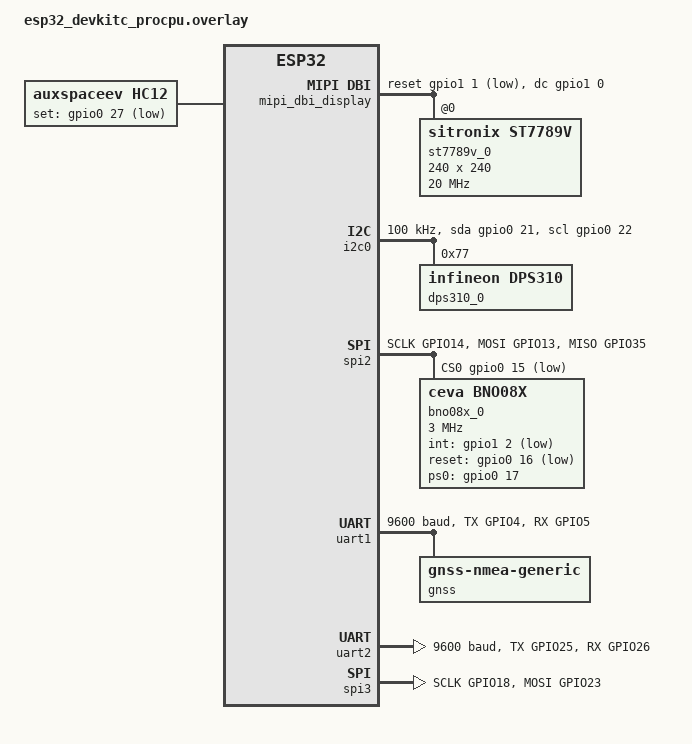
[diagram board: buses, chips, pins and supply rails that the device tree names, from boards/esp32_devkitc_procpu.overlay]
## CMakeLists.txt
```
#-------------------------------------------------------------------------------
# Ground Support Application
#
# Copyright (c) 2026 Auxspace e.V.
# SPDX-License-Identifier: Apache-2.0

cmake_minimum_required(VERSION 3.20.0)

# TODO: Exclude zephyr from SCA since it produces false positives
# set(ZEPHYR_SCA_VARIANT gcc)

# Make application-local snippets (e.g. ./snippets/sim) discoverable by
# `west build -S <name>` and twister's SNIPPET= extra_args.
list(APPEND SNIPPET_ROOT ${CMAKE_CURRENT_SOURCE_DIR})

find_package(Zephyr REQUIRED HINTS $ENV{ZEPHYR_BASE})

# The "app" library target below is created by find_package(Zephyr) (see
# zephyr/cmake/modules/kernel.cmake), independently of the project name.
project(ground_support LANGUAGES C CXX)

target_sources(app PRIVATE
	src/main.c
	src/ground_state.c
	src/hc12_rx.c
	)

target_sources_ifdef(CONFIG_GNSS app PRIVATE src/gnss_rx.c)
target_sources_ifdef(CONFIG_LVGL app PRIVATE src/display.c)
```

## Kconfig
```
# Copyright (c) 2026 Auxspace e.V.
# SPDX-License-Identifier: Apache-2.0
#
# This file is the application Kconfig entry point. All application Kconfig
# options can be defined here or included via other application Kconfig files.
# You can browse these options using the west targets menuconfig (terminal) or
# guiconfig (GUI).

menu "Zephyr"

source "Kconfig.zephyr"

endmenu

module = GROUND_SUPPORT
module-str = GROUND_SUPPORT
source "subsys/logging/Kconfig.template.log_config"
```

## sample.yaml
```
# Copyright (c) 2026 Auxspace e.V.
# SPDX-License-Identifier: Apache-2.0
#
# This file is provided so that the application can be compiled using Twister,
# the Zephyr testing tool. In this file, multiple combinations can be specified,
# so that you can easily test all of them locally or in CI.
sample:
  description: Ground Support Application
  name: Ground Support
common:
  build_only: true
tests:
  app.default:
    platform_allow:
      - rpi_pico2/rp2350a/m33
    integration_platforms:
      - rpi_pico2/rp2350a/m33
  app.debug:
    extra_overlay_confs:
      - debug.conf
    platform_allow:
      - rpi_pico2/rp2350a/m33
    integration_platforms:
      - rpi_pico2/rp2350a/m33
  app.debug.sysbuild:
    sysbuild: true
    extra_overlay_confs:
      - debug.conf
    platform_allow:
      - rpi_pico2/rp2350a/m33
    integration_platforms:
      - rpi_pico2/rp2350a/m33
```

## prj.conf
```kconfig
# Copyright (c) 2026 Auxspace e.V.
# SPDX-License-Identifier: Apache-2.0
#
# common options, which apply to all boards (will be duplicated in board configs)

# Console and Shell
CONFIG_SHELL=y
CONFIG_SENSOR_SHELL=y

# Boot banner
CONFIG_BOOT_BANNER_STRING="Booting AURORA - Ground Support"

# Logging
CONFIG_LOG=y
CONFIG_LOG_MODE_IMMEDIATE=y
CONFIG_LOG_DEFAULT_LEVEL=3
CONFIG_LOG_TIMESTAMP_USE_REALTIME=y
CONFIG_LOG_SPEED=y
CONFIG_LOG_THREAD_ID_PREFIX=y
CONFIG_LOG_INFO_COLOR_GREEN=y
CONFIG_LOG_DBG_COLOR_BLUE=y
CONFIG_LOG_OUTPUT_FORMAT_TIME_TIMESTAMP=y
# CONFIG_LOG_BACKEND_FS_APPEND_TO_NEWEST_FILE is not set
# CONFIG_LOG_MEM_UTILIZATION is not set
CONFIG_LOG_CMDS=y
CONFIG_LOG_RATELIMIT_INTERVAL_MS=500

CONFIG_ZBUS=y
CONFIG_ZBUS_CHANNEL_NAME=y

# CRC-16/CCITT for the HC-12 telemetry frame check (hc12_rx.c).
CONFIG_CRC=y

# Runtime healthchecks and supervision
CONFIG_STACK_SENTINEL=y
CONFIG_INIT_STACKS=y
CONFIG_ASSERT=y

# Display (LVGL) tunables. CONFIG_DISPLAY / CONFIG_LVGL / CONFIG_ST7789V and the
# sensor/GNSS driver enables live in the board .conf; these size the LVGL draw
# buffer and heap for the 240x240 RGB565 panel.
CONFIG_LV_COLOR_DEPTH_16=y
CONFIG_LV_Z_BITS_PER_PIXEL=16
CONFIG_LV_Z_MEM_POOL_SIZE=16384
CONFIG_LV_Z_VDB_SIZE=16
CONFIG_LV_Z_FLUSH_THREAD=y

# Extra Shells for Debugging
CONFIG_ADC_SHELL=y
CONFIG_GPIO_SHELL=y
CONFIG_PWM_SHELL=y
CONFIG_I2C_SHELL=y
```

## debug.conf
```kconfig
# Copyright (c) 2021 Nordic Semiconductor ASA
# Copyright (c) 2026 Auxspace e.V.
# SPDX-License-Identifier: Apache-2.0
#
# This is a Kconfig fragment which can be used to enable debug-related options
# in the application. See the README for more details.

# kernel
CONFIG_DEBUG=y
CONFIG_DEBUG_THREAD_INFO=y

# Fatal-error handling.
#
# Zephyr's default with RESET_ON_FATAL_ERROR=n is arch_system_halt(): the
# board stops dead where it faulted. On micrometer@2 that is
# indistinguishable from a brownout or a flat pack, because the halt takes
# the console with it and the panic banner is lost in the USB-Serial-JTAG
# FIFO (see coredump.conf). Rebooting instead means the board comes back,
# re-prints the boot banner -- which is itself the proof that this was a
# fault and not a power loss -- and can be asked for the stored coredump.
#
# Debug-only on purpose: a flight build should not silently reboot a live
# state machine, so this stays out of prj.conf.
CONFIG_RESET_ON_FATAL_ERROR=y

# Stack-overflow sanitisers
CONFIG_HW_STACK_PROTECTION=y
CONFIG_INIT_STACKS=y
CONFIG_THREAD_STACK_INFO=y
CONFIG_STACK_USAGE=y
CONFIG_EXCEPTION_STACK_TRACE=y

# compiler
CONFIG_SYMTAB=y
CONFIG_SYMTAB_SHELL=y
CONFIG_DEBUG_OPTIMIZATIONS=y
# Keep file:line (that is what names a panic) but drop the condition
# expression, which is the long half of every assert string. Assert strings
# land in DRAM rodata on esp32s3, and DRAM is the binding constraint here.
CONFIG_ASSERT_NO_COND_INFO=y
CONFIG_ASSERT=y
CONFIG_ASSERT_LEVEL=2

# thread analyzing
CONFIG_THREAD_ANALYZER=y
CONFIG_THREAD_ANALYZER_AUTO=y
CONFIG_THREAD_ANALYZER_AUTO_STACK_SIZE=2048
CONFIG_THREAD_ANALYZER_USE_LOG=y
CONFIG_THREAD_NAME=y
CONFIG_ZBUS_CHANNEL_NAME=y

# logging
CONFIG_LOG=y

CONFIG_FS_LOG_LEVEL_DBG=y
CONFIG_AURORA_SENSORS_LOG_LEVEL_DBG=y
CONFIG_AURORA_NOTIFY_LOG_LEVEL_DBG=y
CONFIG_GROUND_SUPPORT_LOG_LEVEL_DBG=y
CONFIG_AURORA_TELEMETRY_LOG_LEVEL_DBG=y
CONFIG_AURORA_PAD_LINK_LOG_LEVEL_DBG=y

# Extra Shells for Debugging
CONFIG_ADC_SHELL=y
CONFIG_GPIO_SHELL=y
CONFIG_PWM_SHELL=y
CONFIG_I2C_SHELL=y
```

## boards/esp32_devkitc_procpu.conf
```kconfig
# Copyright (c) 2026 Auxspace e.V.
# SPDX-License-Identifier: Apache-2.0
#
# Ground Support config for the ESP32-DevKitC (ESP32-WROOM-32).
# Pairs with the matching .overlay, which puts the IMU + baro on I2C0, GNSS on
# UART1, HC-12 on UART2 and the ST7789 display on SPI3. The console/shell stay
# on UART0 via the on-board USB-UART bridge.

CONFIG_MAIN_STACK_SIZE=4096

# Place the application image at the DT code partition (ESP32 boot flow).
CONFIG_USE_DT_CODE_PARTITION=y

# --- Console (UART0 via USB-UART bridge) -----------------------------
CONFIG_GPIO=y
CONFIG_SERIAL=y
CONFIG_UART_CONSOLE=y
CONFIG_UART_INTERRUPT_DRIVEN=y
CONFIG_CBPRINTF_FP_SUPPORT=y

CONFIG_LOG_BACKEND_UART=y
CONFIG_LOG_BACKEND_UART_BUFFER_SIZE=32

# --- Buses -----------------------------------------------------------
CONFIG_I2C=y
CONFIG_SPI=y

# --- Sensors: BNO08x (9-DoF) + DPS310 baro ---------------------------
CONFIG_SENSOR=y
CONFIG_AURORA_SENSORS=y

CONFIG_IMU=y
CONFIG_IMU_FREQUENCY=50
CONFIG_IMU_MAGNETOMETER=y
# BNO08x sensor-hub over SPI2 (out-of-tree ceva,bno08x driver). The device
# fuses internally and pushes reports on its INT line; the driver latches them
# and serves the sensor API, so the IMU lib polls it (no CONFIG_IMU_TRIGGER).
CONFIG_CEVA_BNO08X=y

CONFIG_BARO=y
CONFIG_BARO_FREQUENCY=50
CONFIG_DPS310=y

# --- GNSS: u-blox NEO-6M over NMEA -----------------------------------
CONFIG_GNSS=y
CONFIG_GNSS_NMEA_GENERIC=y
CONFIG_GNSS_SATELLITES=y

# --- Display: ST7789V via MIPI-DBI, rendered with LVGL ---------------
CONFIG_DISPLAY=y
CONFIG_MIPI_DBI=y
CONFIG_ST7789V=y
CONFIG_LVGL=y

CONFIG_IDLE_STACK_SIZE=2048
CONFIG_ISR_STACK_SIZE=4096
CONFIG_BT_TX_PROCESSOR_STACK_SIZE=2048
CONFIG_RTIO_WORKQ_THREADS_POOL_STACK_SIZE=4096
CONFIG_LOG_PROCESS_THREAD_STACK_SIZE=4096
CONFIG_SHELL_STACK_SIZE=4096
CONFIG_SYSTEM_WORKQUEUE_STACK_SIZE=4096

# Disable nested interrupts
CONFIG_XTENSA_INTERRUPT_NONPREEMPTABLE=y
```

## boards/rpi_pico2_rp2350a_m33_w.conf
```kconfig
# Copyright (c) 2026 Auxspace e.V.
# SPDX-License-Identifier: Apache-2.0
#
# Ground Support config for the Raspberry Pi Pico 2 W (RP2350A, Cortex-M33).
# Pairs with the matching .overlay, which puts the console on USB CDC and wires
# the IMU + baro on I2C0, GNSS on UART0, HC-12 on UART1 and the ST7789 display
# on SPI0.

CONFIG_MAIN_STACK_SIZE=4096

# --- Console / USB CDC -----------------------------------------------
CONFIG_GPIO=y
CONFIG_SERIAL=y
CONFIG_UART_CONSOLE=y
CONFIG_UART_LINE_CTRL=y
CONFIG_UART_INTERRUPT_DRIVEN=y
CONFIG_USB_DEVICE_STACK_NEXT=y
CONFIG_USBD_CDC_ACM_LOG_LEVEL_OFF=y
CONFIG_CDC_ACM_SERIAL_INITIALIZE_AT_BOOT=y
CONFIG_CBPRINTF_FP_SUPPORT=y

CONFIG_LOG_BACKEND_UART=y
CONFIG_LOG_BACKEND_UART_BUFFER_SIZE=32

# --- Buses -----------------------------------------------------------
CONFIG_I2C=y
CONFIG_SPI=y

# --- Sensors: MPU-9250 (9-DoF) + DPS310 baro -------------------------
CONFIG_SENSOR=y
CONFIG_AURORA_SENSORS=y

CONFIG_IMU=y
CONFIG_IMU_FREQUENCY=50
CONFIG_IMU_MAGNETOMETER=y
# Polled: no INT line wired. Enable CONFIG_MPU9250_TRIGGER once irq-gpios
# is present in the overlay.
CONFIG_MPU9250=y
CONFIG_MPU9250_MAGN_EN=y
CONFIG_MPU9250_TRIGGER_NONE=y

CONFIG_BARO=y
CONFIG_BARO_FREQUENCY=50
CONFIG_DPS310=y

# --- GNSS: u-blox NEO-6M over NMEA -----------------------------------
CONFIG_GNSS=y
CONFIG_GNSS_NMEA_GENERIC=y
CONFIG_GNSS_SATELLITES=y

# --- Display: ST7789V via MIPI-DBI, rendered with LVGL ---------------
# NOTE: CONFIG_LVGL requires the lvgl module, which is added to west.yml in
# phase 4; a `west update` must run before this builds.
CONFIG_DISPLAY=y
CONFIG_MIPI_DBI=y
CONFIG_ST7789V=y
CONFIG_LVGL=y
```

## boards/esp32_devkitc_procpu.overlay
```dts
/*
 * Copyright (c) 2026 Auxspace e.V.
 * SPDX-License-Identifier: Apache-2.0
 *
 * Ground Support bench overlay for the ESP32-DevKitC (ESP32-WROOM-32).
 *
 * The ESP32 routes peripherals through the GPIO matrix, so these pins are a
 * free choice - confirm every one of them against the actual wiring and edit
 * the GPIO numbers below if they differ.
 *
 * Bus map:
 *   I2C0  (SDA GPIO21 / SCL GPIO22)  - DPS310 barometer
 *   SPI2  (SCLK GPIO14/ MOSI GPIO13 / MISO GPIO35) - BNO08x 9-DoF IMU
 *                                      (CS GPIO15, INT GPIO34, RESET GPIO16,
 *                                      PS0/WAKE GPIO17; PS1 strapped high)
 *   UART1 (TX  GPIO4  / RX  GPIO5 )  - u-blox NEO-6M GNSS (NMEA @ 9600)
 *   UART2 (TX  GPIO25 / RX  GPIO26)  - HC-12 433 MHz link (SET on GPIO27)
 *   SPI3  (SCLK GPIO18/ MOSI GPIO23) - ST7789V display (CS GPIO19, DC GPIO32,
 *                                      RESET GPIO33), MIPI-DBI 4-wire
 *   Console/shell stay on UART0 (GPIO1/GPIO3) via the on-board USB-UART bridge,
 *   which is why GNSS and HC-12 move to UART1/UART2 (the Pico build had GNSS on
 *   UART0/HC-12 on UART1, but UART0 is the console here).
 *
 * IMU: BNO08x (BNO080/085/086) on SPI2, driven by the out-of-tree
 * `ceva,bno08x` driver (aurora/drivers/sensor/ceva/bno08x). The part runs
 * CEVA SH-2 fusion firmware over SHTP; the driver exposes accel/gyro/magn on
 * the standard sensor API. SPI (not I2C) because the driver is SPI-only and
 * SPI is the reliable BNO08x host interface. PS1 is strapped high on the
 * board for a static SPI-mode select (output-capable GPIOs are scarce on this
 * board, so PS1 does not get its own GPIO); PS0 stays a GPIO because it
 * doubles as the H_WAKE line. INT is on input-only GPIO34 (needs the module's
 * external pull-up on nINT). Note GPIO16/17 are only usable because this file
 * un-reserves them above (WROOM-32, no PSRAM).
 */

#include <zephyr/dt-bindings/pinctrl/esp32-pinctrl.h>
#include <zephyr/dt-bindings/display/panel.h>
#include <zephyr/dt-bindings/gpio/gpio.h>
#include <zephyr/dt-bindings/i2c/i2c.h>

/*
 * This DevKitC carries an ESP32-WROOM-32 (no PSRAM), so GPIO16 and GPIO17 are
 * ordinary GPIOs. The upstream esp32_devkitc board target, however, includes
 * esp32_wrover_e_n4r8.dtsi, whose gpio-reserved-ranges mark <16 2> (GPIO16/17)
 * as flash&psram. On a WROOM part that reservation is wrong: it clears bits
 * 16/17 from gpio0's port_pin_mask, so gpio_pin_configure() on either pin trips
 * the "Unsupported pin" assert -> kernel panic at init. Re-state the reserved
 * ranges without <16 2> so the HC-12 SET line (GPIO16) and the BNO08x PS0/H_WAKE
 * line (GPIO17) are usable. Keep the SPI-flash pins (6-11) and the not-bonded
 * pins (20, 24, 28-31) reserved. (Do NOT do this on a WROVER: 16/17 are PSRAM.)
 */
&gpio0 {
	gpio-reserved-ranges = <6 6>, <20 1>, <24 1>, <28 4>;
};

/ {
	chosen {
		auxspace,imu = &bno08x_0;
		auxspace,baro = &dps310_0;
		auxspace,telemetry-hc12 = &hc12;
		zephyr,display = &st7789v_0;
	};

	aliases {
		gnss = &gnss;
	};

	hc12: hc12 {
		compatible = "auxspaceev,hc12";
		uart = <&uart2>;
		set-gpios = <&gpio0 27 GPIO_ACTIVE_LOW>;
		status = "okay";
	};

	/* MIPI-DBI Mode-C shim over SPI3. */
	mipi_dbi_display: mipi-dbi-display {
		compatible = "zephyr,mipi-dbi-spi";
		spi-dev = <&spi3>;
		/* GPIO32/33 are on the gpio1 controller (indices 0/1); &gpio0 would
		 * write the wrong register. DC=GPIO32, RESET=GPIO33.
		 */
		dc-gpios = <&gpio1 0 GPIO_ACTIVE_HIGH>;
		reset-gpios = <&gpio1 1 GPIO_ACTIVE_LOW>;
		write-only;
		#address-cells = <1>;
		#size-cells = <0>;

		/* 240x240 IPS panel parameters (generic ST7789V module). */
		st7789v_0: st7789v@0 {
			compatible = "sitronix,st7789v";
			reg = <0>;
			mipi-max-frequency = <20000000>;
			mipi-mode = "MIPI_DBI_MODE_SPI_4WIRE";
			width = <240>;
			height = <240>;
			x-offset = <0>;
			y-offset = <0>;
			vcom = <0x19>;
			gctrl = <0x35>;
			vrhs = <0x12>;
			vdvs = <0x20>;
			mdac = <0x00>;
			gamma = <0x01>;
			pixel-format = <PANEL_PIXEL_FORMAT_RGB_565>;
			lcm = <0x2c>;
			porch-param = [0c 0c 00 33 33];
			cmd2en-param = [5a 69 02 01];
			pwctrl1-param = [a4 a1];
			pvgam-param = [d0 04 0d 11 13 2b 3f 54 4c 18 0d 0b 1f 23];
			nvgam-param = [d0 04 0c 11 13 2c 3f 44 51 2f 1f 1f 20 23];
			ram-param = [00 f0];
			rgb-param = [cd 08 14];
		};
	};
};

&pinctrl {
	/* GNSS on UART1. */
	uart1_gnss: uart1_gnss {
		group1 {
			pinmux = <UART1_TX_GPIO4>;
		};
		group2 {
			pinmux = <UART1_RX_GPIO5>;
			bias-pull-up;
		};
	};

	/* HC-12 on UART2. */
	uart2_hc12: uart2_hc12 {
		group1 {
			pinmux = <UART2_TX_GPIO25>;
		};
		group2 {
			pinmux = <UART2_RX_GPIO26>;
			bias-pull-up;
		};
	};

	/* Baro on I2C0. */
	i2c0_ground: i2c0_ground {
		group1 {
			pinmux = <I2C0_SDA_GPIO21>, <I2C0_SCL_GPIO22>;
			bias-pull-up;
			drive-open-drain;
			output-high;
		};
	};

	/* BNO08x IMU on SPI2 (HSPI): SCLK + MOSI + MISO. CS is a GPIO (below).
	 * MISO is on GPIO35 (input-only) via the GPIO matrix: NOT GPIO12, which
	 * is the MTDI flash-voltage strapping pin - a device driving it high at
	 * boot forces 1.8V flash and bricks the boot. GPIO35 has no internal
	 * pull, which is fine (MISO is driven by the BNO08x while CS is asserted).
	 */
	spi2_bno08x: spi2_bno08x {
		group1 {
			pinmux = <SPIM2_SCLK_GPIO14>, <SPIM2_MOSI_GPIO13>;
		};
		group2 {
			pinmux = <SPIM2_MISO_GPIO35>;
		};
	};

	/* Display is write-only: SCLK + MOSI only, CS is a GPIO (see below). */
	spi3_display: spi3_display {
		group1 {
			pinmux = <SPIM3_SCLK_GPIO18>, <SPIM3_MOSI_GPIO23>;
		};
	};
};

/* --- I2C0: barometer ------------------------------------------------- */
&i2c0 {
	status = "okay";
	clock-frequency = <I2C_BITRATE_STANDARD>;
	sda-gpios = <&gpio0 21 GPIO_OPEN_DRAIN>;
	scl-gpios = <&gpio0 22 GPIO_OPEN_DRAIN>;
	pinctrl-0 = <&i2c0_ground>;
	pinctrl-names = "default";

	dps310_0: dps310@77 {
		compatible = "infineon,dps310";
		reg = <0x77>;
		status = "okay";
	};
};

/* --- SPI2 (HSPI): BNO08x 9-DoF IMU ----------------------------------- */
&spi2 {
	status = "okay";
	pinctrl-0 = <&spi2_bno08x>;
	pinctrl-names = "default";
	cs-gpios = <&gpio0 15 GPIO_ACTIVE_LOW>;

	bno08x_0: bno08x@0 {
		compatible = "ceva,bno08x";
		reg = <0>;
		/* BNO08x SPI max is 3 MHz (mode 3, set by the driver). */
		spi-max-frequency = <3000000>;
		/* INT = GPIO34. Pins 32-39 live on the gpio1 controller (gpio0 is
		 * pins 0-31), so GPIO34 is gpio1 index 2. Using &gpio0 34 trips the
		 * "Unsupported pin" assert -> kernel panic at init.
		 */
		int-gpios = <&gpio1 2 GPIO_ACTIVE_LOW>;    /* H_INTN = GPIO34 (input-only) */
		reset-gpios = <&gpio0 16 GPIO_ACTIVE_LOW>; /* nRESET */
		ps0-gpios = <&gpio0 17 GPIO_ACTIVE_HIGH>;  /* PS0 / H_WAKE */
		/* PS1 strapped high in hardware for a static SPI-mode select, so
		 * no ps1-gpios here (the binding makes it optional).
		 */
		report-interval-us = <10000>;
		status = "okay";
	};
};

/* --- UART1: u-blox NEO-6M GNSS (NMEA) ------------------------------- */
&uart1 {
	status = "okay";
	current-speed = <9600>;
	pinctrl-0 = <&uart1_gnss>;
	pinctrl-names = "default";

	gnss: gnss-nmea-generic {
		compatible = "gnss-nmea-generic";
		status = "okay";
	};
};

/* --- UART2: HC-12 telemetry link ------------------------------------ */
&uart2 {
	status = "okay";
	current-speed = <9600>;
	pinctrl-0 = <&uart2_hc12>;
	pinctrl-names = "default";
};

/* --- SPI3: ST7789V display (MIPI-DBI, GPIO chip-select) -------------- */
&spi3 {
	status = "okay";
	pinctrl-0 = <&spi3_display>;
	pinctrl-names = "default";
	cs-gpios = <&gpio0 19 GPIO_ACTIVE_LOW>;
};
```

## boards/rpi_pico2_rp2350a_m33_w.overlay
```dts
/*
 * Copyright (c) 2026 Auxspace e.V.
 * SPDX-License-Identifier: Apache-2.0
 *
 * Ground Support bench overlay for the Raspberry Pi Pico 2 W (RP2350A).
 *
 * Bus map (matches the hardware brief, with one correction):
 *   I2C0  (SDA GP4 / SCL GP5)  - MPU-9250 9-DoF IMU + DPS310 barometer
 *   UART0 (TX  GP0 / RX  GP1)  - u-blox NEO-6M GNSS (NMEA @ 9600)
 *   UART1 (TX  GP20/ RX  GP21) - HC-12 433 MHz link (SET on GP3, active-low)
 *   SPI0  (SCK GP18/ MOSI GP19)- ST7789V display, MIPI-DBI 4-wire
 *   Console/shell live on USB CDC.
 *
 * NOTE on the display: the brief lists the ST7789V on "I2C1", but the
 * ST7789V controller has no I2C interface - it is an SPI (MIPI-DBI Mode C)
 * part, so it is wired on SPI0 here. The SPI/DC/RESET/CS pins below and the
 * GNSS UART pins are sensible Pico defaults; confirm them against the actual
 * wiring and adjust the pinmux / gpio numbers if they differ.
 *
 * NOTE on the IMU: the target 9-DoF part is a BNO08x, which has no in-tree
 * Zephyr driver yet. The MPU-9250 (accel+gyro+AK8963 magnetometer) is an
 * in-tree single-chip 9-DoF stand-in that exercises the same sensor-API path
 * (SENSOR_CHAN_ACCEL/GYRO/MAGN_XYZ). Swap this node for the BNO08x node once
 * its driver is available; nothing above the sensor API changes.
 */

#include <zephyr/dt-bindings/pinctrl/rpi-pico-rp2350a-pinctrl.h>
#include <zephyr/dt-bindings/display/panel.h>
#include <zephyr/dt-bindings/gpio/gpio.h>
#include <zephyr/dt-bindings/i2c/i2c.h>

/ {
	chosen {
		zephyr,console = &cdc_acm_uart;
		zephyr,shell-uart = &cdc_acm_uart;
		auxspace,telemetry-hc12 = &hc12;
		auxspace,imu = &mpu9250_0;
		auxspace,baro = &dps310_0;
		zephyr,display = &st7789v_0;
	};

	aliases {
		gnss = &gnss;
	};

	hc12: hc12 {
		compatible = "auxspaceev,hc12";
		uart = <&uart1>;
		set-gpios = <&gpio0 3 GPIO_ACTIVE_LOW>;
		status = "okay";
	};

	/*
	 * MIPI-DBI Mode-C shim over SPI0. dc-gpios / reset-gpios are the
	 * display's command/data and reset lines; adjust to match wiring.
	 */
	mipi_dbi_display: mipi-dbi-display {
		compatible = "zephyr,mipi-dbi-spi";
		spi-dev = <&spi0>;
		dc-gpios = <&gpio0 8 GPIO_ACTIVE_HIGH>;
		reset-gpios = <&gpio0 9 GPIO_ACTIVE_LOW>;
		write-only;
		#address-cells = <1>;
		#size-cells = <0>;

		/* 240x240 IPS panel parameters (generic ST7789V module). */
		st7789v_0: st7789v@0 {
			compatible = "sitronix,st7789v";
			reg = <0>;
			mipi-max-frequency = <20000000>;
			mipi-mode = "MIPI_DBI_MODE_SPI_4WIRE";
			width = <240>;
			height = <240>;
			x-offset = <0>;
			y-offset = <0>;
			vcom = <0x19>;
			gctrl = <0x35>;
			vrhs = <0x12>;
			vdvs = <0x20>;
			mdac = <0x00>;
			gamma = <0x01>;
			pixel-format = <PANEL_PIXEL_FORMAT_RGB_565>;
			lcm = <0x2c>;
			porch-param = [0c 0c 00 33 33];
			cmd2en-param = [5a 69 02 01];
			pwctrl1-param = [a4 a1];
			pvgam-param = [d0 04 0d 11 13 2b 3f 54 4c 18 0d 0b 1f 23];
			nvgam-param = [d0 04 0c 11 13 2c 3f 44 51 2f 1f 1f 20 23];
			ram-param = [00 f0];
			rgb-param = [cd 08 14];
		};
	};
};

&pinctrl {
	/* HC-12 on UART1 (TX GP20, RX GP21). RP2350's UART1 uses the primary
	 * UART function only on GP{4,8,20,24}/{5,9,21,25}; the GPx alt-function
	 * UART pins are not usable (the _UART_ALT pinmux macro is undefined in
	 * this Zephyr). GP20/21 avoid the I2C0 (GP4/5) and display (GP8/9) pins.
	 */
	uart1_default: uart1_default {
		group1 {
			pinmux = <UART1_TX_P20>;
		};
		group2 {
			pinmux = <UART1_RX_P21>;
			input-enable;
		};
	};

	/* Display is write-only: SCK + MOSI only, CS is a GPIO (see below). */
	spi0_display: spi0_display {
		group1 {
			pinmux = <SPI0_SCK_P18>, <SPI0_TX_P19>;
		};
	};
};

&gpio0 {
	status = "okay";
};

/* --- I2C0: IMU + barometer ------------------------------------------- */
&i2c0 {
	status = "okay";
	clock-frequency = <I2C_BITRATE_FAST>;
	pinctrl-0 = <&i2c0_default>;
	pinctrl-names = "default";

	mpu9250_0: mpu9250@68 {
		compatible = "invensense,mpu9250";
		reg = <0x68>;
		status = "okay";
		/* Polled (no irq-gpios): the imu lib falls back to polling when
		 * no data-ready trigger is available. Wire INT and enable
		 * CONFIG_MPU9250_TRIGGER to move to interrupt-driven reads.
		 */
		gyro-sr-div = <0>;
		gyro-dlpf = <41>;
		gyro-fs = <1000>;
		accel-fs = <16>;
		accel-dlpf = "44.8";
	};

	dps310_0: dps310@77 {
		compatible = "infineon,dps310";
		reg = <0x77>;
		status = "okay";
	};
};

/* --- UART0: u-blox NEO-6M GNSS (NMEA) -------------------------------- */
&uart0 {
	status = "okay";
	current-speed = <9600>;
	pinctrl-0 = <&uart0_default>;
	pinctrl-names = "default";

	gnss: gnss-nmea-generic {
		compatible = "gnss-nmea-generic";
		status = "okay";
	};
};

/* --- UART1: HC-12 telemetry link ------------------------------------ */
&uart1 {
	status = "okay";
	current-speed = <9600>;
	pinctrl-0 = <&uart1_default>;
	pinctrl-names = "default";
};

/* --- SPI0: ST7789V display (MIPI-DBI, GPIO chip-select) -------------- */
&spi0 {
	status = "okay";
	pinctrl-0 = <&spi0_display>;
	pinctrl-names = "default";
	cs-gpios = <&gpio0 17 GPIO_ACTIVE_LOW>;
};

zephyr_udc0: &usbd {
	cdc_acm_uart: cdc_acm_uart {
		compatible = "zephyr,cdc-acm-uart";
	};
};
```

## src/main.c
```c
/**
 * @file main.c
 * @brief Ground Support application entry point.
 *
 * A pad-link and LoRa/HC-12 ground station. One thread owns the onboard
 * sensors: it reads the IMU and barometer as they come due, derives the
 * unit's own attitude (roll/pitch), tilt-compensated magnetic heading and
 * barometric altitude, and publishes them to the shared snapshot. The GNSS
 * callback, the HC-12 receiver and the LVGL display run on their own threads
 * and rendezvous through the same snapshot (see ground_state.h).
 *
 * Copyright (c) 2026 Auxspace e.V.
 * SPDX-License-Identifier: Apache-2.0
 */

#include "ground_state.h"
#include "hc12_rx.h"

#if defined(CONFIG_GNSS)
#include "gnss_rx.h"
#endif /* CONFIG_GNSS */

#if defined(CONFIG_LVGL)
#include "display.h"
#endif /* CONFIG_LVGL */

#include <math.h>
#include <string.h>
#include <zephyr/device.h>
#include <zephyr/devicetree.h>
#include <zephyr/drivers/sensor.h>
#include <zephyr/kernel.h>
#include <zephyr/logging/log.h>

#include <zephyr/app_version.h>

#if defined(CONFIG_IMU)
#include <aurora/lib/imu.h>
#endif /* CONFIG_IMU */

#if defined(CONFIG_BARO)
#include <aurora/lib/baro.h>
#endif /* CONFIG_BARO */

LOG_MODULE_REGISTER(main, CONFIG_GROUND_SUPPORT_LOG_LEVEL);

#define STANDARD_GRAVITY 9.80665

/* ============================================================
 *                     SENSORS
 * ============================================================ */

/* Both sensors share I2C0 and are read from the sampler thread below, one at
 * a time; owning the bus from a single thread avoids the spin-serialisation a
 * shared I2C controller would otherwise impose on two concurrent pollers.
 */

/** Sleep cap when no sensor has a deadline, e.g. every one failed to init. */
#define SENSOR_IDLE_SLEEP_MS 1000

#if defined(CONFIG_IMU)
#define IMU_PERIOD_MS MAX(1, 1000 / CONFIG_IMU_FREQUENCY)

#if !DT_HAS_CHOSEN(auxspace_imu)
#error "CONFIG_IMU requires DT chosen 'auxspace,imu' to point at an IMU sensor node."
#endif
BUILD_ASSERT(DT_NODE_HAS_STATUS(DT_CHOSEN(auxspace_imu), okay),
	     "the 'auxspace,imu' chosen node must have status \"okay\"");
#define IMU_DEV DEVICE_DT_GET(DT_CHOSEN(auxspace_imu))

static bool imu_ok;
#endif /* CONFIG_IMU */

#if defined(CONFIG_BARO)
#define BARO_PERIOD_MS MAX(1, 1000 / CONFIG_BARO_FREQUENCY)

#if !DT_HAS_CHOSEN(auxspace_baro)
#error "CONFIG_BARO requires DT chosen 'auxspace,baro' to point at a baro sensor node."
#endif
BUILD_ASSERT(DT_NODE_HAS_STATUS(DT_CHOSEN(auxspace_baro), okay),
	     "the 'auxspace,baro' chosen node must have status \"okay\"");
#define BARO_DEV DEVICE_DT_GET(DT_CHOSEN(auxspace_baro))

static bool baro_ok;
static bool baro_ref_set;
#endif /* CONFIG_BARO */

/**
 * @brief Bring every configured sensor up.
 *
 * A sensor that fails to initialize is left out rather than taking the others
 * down with it; one that comes up but cannot deliver its data-ready trigger
 * falls back to being polled.
 */
static void sensors_init(void)
{
#if defined(CONFIG_IMU)
	int imu_rc = imu_init(IMU_DEV);

	if (imu_rc == -ENOTSUP) {
		LOG_WRN("IMU data-ready trigger unavailable; polling at %d Hz",
			CONFIG_IMU_FREQUENCY);
		imu_rc = 0;
	}

	imu_ok = (imu_rc == 0);
	if (imu_ok) {
		LOG_INF("IMU ready");
	} else {
		LOG_ERR("IMU not ready!");
	}
#endif /* CONFIG_IMU */

#if defined(CONFIG_BARO)
	int baro_rc = baro_init(BARO_DEV);

	if (baro_rc == -ENOTSUP) {
		LOG_WRN("Baro data-ready trigger unavailable; polling at %d Hz",
			CONFIG_BARO_FREQUENCY);
		baro_rc = 0;
	}

	baro_ok = (baro_rc == 0);
	if (baro_ok) {
		LOG_INF("Baro ready");
	} else {
		LOG_ERR("Baro not ready!");
	}
#endif /* CONFIG_BARO */
}

/* ============================================================
 *                     SAMPLER TASK
 * ============================================================ */

/* Onboard-attitude snapshot, rebuilt each pass and published whole. File-scope
 * because exactly one thread owns it.
 */
static struct gs_local local;

#if defined(CONFIG_IMU)
/* Previous IMU timestamp, for the roll integration dt. */
static int64_t last_imu_ns;

/**
 * @brief Turn one IMU sample into roll, pitch, heading and |a|.
 *
 * Attitude comes straight from the accelerometer (gravity direction) and the
 * magnetometer (heading); no calibration/gravity-tracking state machine is
 * needed here because the ground unit only ever reports its own static
 * pointing, never gravity-removed flight acceleration. The orientation triple
 * follows the imu lib convention: [0] = bank about the forward axis, [1] =
 * elevation of the forward axis, [2] = gyro-integrated roll about the up axis.
 */
static void handle_imu(const struct imu_data *imu)
{
	int64_t now_ns = (k_uptime_ticks() * NSEC_PER_SEC) / CONFIG_SYS_CLOCK_TICKS_PER_SEC;
	double dt_s = (last_imu_ns != 0) ? (double)(now_ns - last_imu_ns) / 1e9 : 0.0;

	if (dt_s < 0.0 || dt_s > 1.0) {
		dt_s = 0.0;
	}

	double orientation[3] = {0.0, 0.0, 0.0};

	if (imu_sensor_value_to_orientation(imu, dt_s, NULL, orientation) == 0) {
		local.roll_deg = orientation[0];
		local.pitch_deg = orientation[1];
	}

#if defined(CONFIG_IMU_MAGNETOMETER)
	double heading;

	if (imu_sensor_value_to_heading(imu, &heading) == 0) {
		local.heading_deg = heading;
	}
#endif /* CONFIG_IMU_MAGNETOMETER */

	double accel_ms2;

	if (imu_sensor_value_to_acceleration(imu, &accel_ms2) == 0) {
		local.accel_g = accel_ms2 / STANDARD_GRAVITY;
	}

	local.imu_ok = true;
	last_imu_ns = now_ns;
}
#endif /* CONFIG_IMU */

#if defined(CONFIG_BARO)
/**
 * @brief Turn one baro sample into altitude above the boot reference.
 *
 * The first valid pressure reading sets the zero-altitude datum, so the
 * displayed altitude is height above wherever the unit was switched on.
 */
static void handle_baro(const struct baro_data *baro)
{
	if (!baro_ref_set) {
		double ref_kpa = sensor_value_to_double(&baro->pressure);

		if (baro_set_reference(ref_kpa) == 0) {
			baro_ref_set = true;
		}
	}

	double altitude;

	if (baro_ref_set &&
	    baro_sensor_value_to_altitude(&baro->pressure, &altitude) == 0) {
		local.altitude_m = altitude;
		local.baro_ok = true;
	}
}
#endif /* CONFIG_BARO */

/**
 * @brief Sampler thread: reads each sensor as it comes due and publishes.
 */
static void sampler_task(void *, void *, void *)
{
	sensors_init();

	int64_t now = k_uptime_get();
#if defined(CONFIG_IMU)
	int64_t imu_due = now;
	struct imu_data imu_msg;
#endif /* CONFIG_IMU */
#if defined(CONFIG_BARO)
	int64_t baro_due = now;
	struct baro_data baro_msg;
#endif /* CONFIG_BARO */

	while (1) {
		now = k_uptime_get();
		int64_t next_due = now + SENSOR_IDLE_SLEEP_MS;

#if defined(CONFIG_IMU)
		if (imu_ok) {
			if (now >= imu_due) {
				/* -EAGAIN only means a triggered sensor has
				 * nothing new; a real sample is handled here.
				 */
				if (imu_poll(IMU_DEV, &imu_msg) == 0) {
					handle_imu(&imu_msg);
				}

				now = k_uptime_get();
				imu_due += IMU_PERIOD_MS;
				if (imu_due <= now) {
					imu_due = now + IMU_PERIOD_MS;
				}
			}

			next_due = MIN(next_due, imu_due);
		}
#endif /* CONFIG_IMU */

#if defined(CONFIG_BARO)
		if (baro_ok) {
			if (now >= baro_due) {
				if (baro_measure(BARO_DEV, &baro_msg) == 0) {
					handle_baro(&baro_msg);
				}

				now = k_uptime_get();
				baro_due += BARO_PERIOD_MS;
				if (baro_due <= now) {
					baro_due = now + BARO_PERIOD_MS;
				}
			}

			next_due = MIN(next_due, baro_due);
		}
#endif /* CONFIG_BARO */

		gs_set_local(&local);

		if (next_due <= now) {
			next_due = now + 1;
		}

		/* Absolute deadline, so a slow read eats into this sleep
		 * instead of adding to the period.
		 */
		k_sleep(K_TIMEOUT_ABS_MS(next_due));
	}
}

/* Preemptible; the display and receivers sit below it so a stalled bus read
 * can never cost the UI its responsiveness.
 */
K_THREAD_DEFINE(sampler, 4096, sampler_task, NULL, NULL, NULL, 6, 0, 0);

/* ============================================================
 *                     MAIN INITIALIZATION
 * ============================================================ */

/**
 * @brief Application entry point.
 *
 * Brings up the shared snapshot and the receiver/UI modules; all sampling and
 * rendering is done by threads started via K_THREAD_DEFINE.
 */
int main(void)
{
	LOG_INF("Auxspace AURORA %s - Ground Support", APP_VERSION_STRING);

	gs_init();

#if defined(CONFIG_GNSS)
	(void)gnss_rx_init();
#endif /* CONFIG_GNSS */

	(void)hc12_rx_init();

#if defined(CONFIG_LVGL)
	(void)display_init();
#endif /* CONFIG_LVGL */

	return 0;
}
```

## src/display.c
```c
/**
 * @file display.c
 * @brief ST7789 / LVGL ground-station display.
 *
 * Renders an artificial-horizon gauge from the ground unit's own attitude,
 * plus text panels for heading, pitch, GNSS fix, the rocket's downlinked
 * telemetry and (placeholder) pad-link status. Everything LVGL runs on this
 * one thread; producers only ever touch the shared snapshot.
 *
 * Copyright (c) 2026 Auxspace e.V.
 * SPDX-License-Identifier: Apache-2.0
 */

#include "display.h"
#include "ground_state.h"

#include <math.h>
#include <stdio.h>
#include <zephyr/device.h>
#include <zephyr/drivers/display.h>
#include <zephyr/kernel.h>
#include <zephyr/logging/log.h>

#include <lvgl.h>

LOG_MODULE_REGISTER(display, CONFIG_GROUND_SUPPORT_LOG_LEVEL);

#ifndef M_PI
#define M_PI 3.14159265358979323846
#endif

#define DISPLAY_NODE DT_CHOSEN(zephyr_display)
BUILD_ASSERT(DT_NODE_HAS_STATUS(DISPLAY_NODE, okay),
	     "chosen 'zephyr,display' must point at an enabled display");
#define DISPLAY_DEV DEVICE_DT_GET(DISPLAY_NODE)

/** UI refresh period. The sensors run faster; the eye does not care. */
#define DISPLAY_REFRESH_MS 33

/** Telemetry older than this is shown as stale. */
#define TELEMETRY_STALE_MS 3000

/* Artificial-horizon geometry, in the bezel's local coordinates. */
#define GAUGE_D 108
#define GAUGE_R 46
#define GAUGE_C (GAUGE_D / 2)
#define PITCH_PX_PER_DEG ((double)GAUGE_R / 45.0)

/* Palette (RGB888, converted to the panel's RGB565 by LVGL). */
#define COL_BG      0x0a0e12
#define COL_TITLE   0x33ccff
#define COL_TEXT    0xe6e6e6
#define COL_DIM     0x60707c
#define COL_OK      0x50d080
#define COL_RKT     0xffb020
#define COL_HORIZON 0x33ccff
#define COL_CRAFT   0xffcc00

static lv_obj_t *horizon_line;
static lv_obj_t *lbl_hdg;
static lv_obj_t *lbl_gnss1;
static lv_obj_t *lbl_gnss2;
static lv_obj_t *lbl_rkt1;
static lv_obj_t *lbl_rkt2;
static lv_obj_t *lbl_pad;

static lv_point_precise_t horizon_pts[2];

/* Mirrors the simple state-machine backend (enum sm_state, SM_TYPE_SIMPLE).
 * Kept local so the ground station does not pull in the whole flight state
 * machine just to name a state.
 */
static const char *const sm_simple_names[] = {
	"IDLE", "ARMED", "BOOST", "BURNOUT", "APOGEE",
	"MAIN", "REDUNDANT", "LANDED", "ERROR",
};

static const char *state_name(uint8_t type, uint8_t state)
{
	if (type == 0 /* SM_TYPE_SIMPLE */ && state < ARRAY_SIZE(sm_simple_names)) {
		return sm_simple_names[state];
	}
	return "?";
}

static const char *fix_name(uint8_t fix)
{
	switch (fix) {
	case 1: return "FIX";
	case 2: return "DGPS";
	case 3: return "EST";
	default: return "NO FIX";
	}
}

static void set_text_color(lv_obj_t *lbl, uint32_t rgb)
{
	lv_obj_set_style_text_color(lbl, lv_color_hex(rgb), LV_PART_MAIN);
}

static lv_obj_t *make_label(int x, int y, uint32_t rgb)
{
	lv_obj_t *lbl = lv_label_create(lv_screen_active());

	lv_obj_set_pos(lbl, x, y);
	set_text_color(lbl, rgb);
	lv_label_set_text(lbl, "");
	return lbl;
}

/** Static wing/dot mark fixed at the gauge centre. */
static void build_center_mark(lv_obj_t *bezel)
{
	static const lv_point_precise_t left[]  = {{GAUGE_C - 16, GAUGE_C}, {GAUGE_C - 5, GAUGE_C}};
	static const lv_point_precise_t right[] = {{GAUGE_C + 5, GAUGE_C}, {GAUGE_C + 16, GAUGE_C}};
	static const lv_point_precise_t dot[]   = {{GAUGE_C - 1, GAUGE_C}, {GAUGE_C + 1, GAUGE_C}};

	const lv_point_precise_t *marks[] = {left, right, dot};

	for (int i = 0; i < 3; i++) {
		lv_obj_t *l = lv_line_create(bezel);

		lv_line_set_points(l, marks[i], 2);
		lv_obj_set_style_line_width(l, 2, LV_PART_MAIN);
		lv_obj_set_style_line_color(l, lv_color_hex(COL_CRAFT), LV_PART_MAIN);
		lv_obj_set_style_line_rounded(l, true, LV_PART_MAIN);
	}
}

static void build_ui(void)
{
	lv_obj_t *scr = lv_screen_active();

	lv_obj_set_style_bg_color(scr, lv_color_hex(COL_BG), LV_PART_MAIN);
	lv_obj_set_style_bg_opa(scr, LV_OPA_COVER, LV_PART_MAIN);
	/* No input device: nothing scrolls, so keep the scrollbars off-screen. */
	lv_obj_set_scrollbar_mode(scr, LV_SCROLLBAR_MODE_OFF);

	lv_obj_t *title = lv_label_create(scr);

	lv_label_set_text(title, "GROUND SUPPORT");
	set_text_color(title, COL_TITLE);
	lv_obj_align(title, LV_ALIGN_TOP_MID, 0, 2);

	/* Circular bezel; children (the horizon and centre mark) are clipped to
	 * the circle because the radius rounds the clip region.
	 */
	lv_obj_t *bezel = lv_obj_create(scr);

	lv_obj_set_size(bezel, GAUGE_D, GAUGE_D);
	lv_obj_align(bezel, LV_ALIGN_TOP_MID, 0, 18);
	lv_obj_set_style_radius(bezel, LV_RADIUS_CIRCLE, LV_PART_MAIN);
	lv_obj_set_style_pad_all(bezel, 0, LV_PART_MAIN);
	lv_obj_set_style_bg_color(bezel, lv_color_hex(0x122028), LV_PART_MAIN);
	lv_obj_set_style_bg_opa(bezel, LV_OPA_COVER, LV_PART_MAIN);
	lv_obj_set_style_border_width(bezel, 2, LV_PART_MAIN);
	lv_obj_set_style_border_color(bezel, lv_color_hex(COL_DIM), LV_PART_MAIN);
	lv_obj_set_scrollbar_mode(bezel, LV_SCROLLBAR_MODE_OFF);

	horizon_line = lv_line_create(bezel);
	lv_obj_set_style_line_width(horizon_line, 3, LV_PART_MAIN);
	lv_obj_set_style_line_color(horizon_line, lv_color_hex(COL_HORIZON), LV_PART_MAIN);
	lv_obj_set_style_line_rounded(horizon_line, true, LV_PART_MAIN);

	build_center_mark(bezel);

	lbl_hdg   = make_label(6, 128, COL_TEXT);
	lbl_gnss1 = make_label(6, 148, COL_DIM);
	lbl_gnss2 = make_label(6, 166, COL_DIM);
	lbl_rkt1  = make_label(6, 186, COL_DIM);
	lbl_rkt2  = make_label(6, 204, COL_DIM);
	lbl_pad   = make_label(6, 222, COL_DIM);
}

static void update_horizon(double pitch_deg, double roll_deg)
{
	double dy = pitch_deg * PITCH_PX_PER_DEG;

	if (dy > GAUGE_R) {
		dy = GAUGE_R;
	} else if (dy < -GAUGE_R) {
		dy = -GAUGE_R;
	}

	const double r = roll_deg * (M_PI / 180.0);
	const double cs = cos(r), sn = sin(r);

	/* Horizontal chord at y = centre + pitch offset, rotated by roll about
	 * the gauge centre (screen Y points down, so +roll banks right).
	 */
	const double x0 = -GAUGE_R, x1 = GAUGE_R, y = dy;

	horizon_pts[0].x = (lv_value_precise_t)(GAUGE_C + (x0 * cs - y * sn));
	horizon_pts[0].y = (lv_value_precise_t)(GAUGE_C + (x0 * sn + y * cs));
	horizon_pts[1].x = (lv_value_precise_t)(GAUGE_C + (x1 * cs - y * sn));
	horizon_pts[1].y = (lv_value_precise_t)(GAUGE_C + (x1 * sn + y * cs));

	lv_line_set_points(horizon_line, horizon_pts, 2);
}

static void update_ui(const struct gs_snapshot *s)
{
	char buf[48];

	if (s->local.imu_ok) {
		update_horizon(s->local.pitch_deg, s->local.roll_deg);
	}

	/* Heading / pitch-from-ground / altitude. */
	if (s->local.imu_ok) {
		snprintf(buf, sizeof(buf), "HDG %3.0f  PITCH %+3.0f  ALT %.0fm",
			 s->local.heading_deg, s->local.pitch_deg,
			 s->local.baro_ok ? s->local.altitude_m : 0.0);
		set_text_color(lbl_hdg, COL_TEXT);
	} else {
		snprintf(buf, sizeof(buf), "HDG --  PITCH --");
		set_text_color(lbl_hdg, COL_DIM);
	}
	lv_label_set_text(lbl_hdg, buf);

	/* GNSS. */
	snprintf(buf, sizeof(buf), "GPS: %s  %u sat", fix_name(s->gnss.fix), s->gnss.sats);
	lv_label_set_text(lbl_gnss1, buf);
	set_text_color(lbl_gnss1, s->gnss.valid ? COL_OK : COL_DIM);

	if (s->gnss.valid) {
		snprintf(buf, sizeof(buf), "%+.5f %+.5f", s->gnss.lat_deg, s->gnss.lon_deg);
		set_text_color(lbl_gnss2, COL_OK);
	} else {
		snprintf(buf, sizeof(buf), "lat --  lon --");
		set_text_color(lbl_gnss2, COL_DIM);
	}
	lv_label_set_text(lbl_gnss2, buf);

	/* Rocket telemetry over HC-12. */
	if (s->tlm.valid) {
		bool stale = (k_uptime_get() - s->tlm.rx_uptime_ms) > TELEMETRY_STALE_MS;

		snprintf(buf, sizeof(buf), "RKT: %s%s  %s",
			 state_name(s->tlm.type, s->tlm.state),
			 s->tlm.armed ? " ARM" : "",
			 stale ? "(stale)" : "");
		set_text_color(lbl_rkt1, stale ? COL_DIM : COL_RKT);
		lv_label_set_text(lbl_rkt1, buf);

		snprintf(buf, sizeof(buf), "alt %.0fm  vv %+.0fm/s", s->tlm.altitude_m,
			 s->tlm.velocity_ms);
		set_text_color(lbl_rkt2, stale ? COL_DIM : COL_RKT);
		lv_label_set_text(lbl_rkt2, buf);
	} else {
		lv_label_set_text(lbl_rkt1, "RKT: no telemetry");
		set_text_color(lbl_rkt1, COL_DIM);
		lv_label_set_text(lbl_rkt2, "");
	}

	/* Pad link (BLE central) is not implemented yet. */
	lv_label_set_text(lbl_pad, s->pad_link_valid ? "PAD: linked" : "PAD: n/a");
	set_text_color(lbl_pad, s->pad_link_valid ? COL_OK : COL_DIM);
}

static void display_task(void *, void *, void *)
{
	const struct device *disp = DISPLAY_DEV;

	if (!device_is_ready(disp)) {
		LOG_ERR("Display %s not ready; UI disabled", disp->name);
		return;
	}

	build_ui();
	lv_timer_handler();
	display_blanking_off(disp);

	while (1) {
		struct gs_snapshot snap;

		gs_get(&snap);
		update_ui(&snap);
		lv_timer_handler();
		k_sleep(K_MSEC(DISPLAY_REFRESH_MS));
	}
}

/* Lowest of the app threads: a slow flush must never delay a sensor read or a
 * telemetry frame.
 */
K_THREAD_DEFINE(display, 8192, display_task, NULL, NULL, NULL, 8, 0, 0);

int display_init(void)
{
	if (!device_is_ready(DISPLAY_DEV)) {
		LOG_ERR("Display %s not ready", ((const struct device *)DISPLAY_DEV)->name);
		return -ENODEV;
	}

	LOG_INF("Display ready: %s", ((const struct device *)DISPLAY_DEV)->name);
	return 0;
}
```

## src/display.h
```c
/**
 * @file display.h
 * @brief ST7789 / LVGL ground-station display.
 *
 * Copyright (c) 2026 Auxspace e.V.
 * SPDX-License-Identifier: Apache-2.0
 */

#ifndef GROUND_SUPPORT_DISPLAY_H_
#define GROUND_SUPPORT_DISPLAY_H_

/**
 * @brief Report whether the display device is ready.
 *
 * The UI is built and refreshed on the display thread (started via
 * K_THREAD_DEFINE); this only probes readiness so a missing panel is visible
 * in the log.
 *
 * @retval 0 on success.
 * @retval -ENODEV if the display device is not ready.
 */
int display_init(void);

#endif /* GROUND_SUPPORT_DISPLAY_H_ */
```

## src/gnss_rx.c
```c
/**
 * @file gnss_rx.c
 * @brief GNSS fix receiver: publishes each fix into the shared snapshot.
 *
 * The u-blox NEO-6M speaks plain NMEA, decoded by Zephyr's generic NMEA
 * driver. The driver owns the UART and its own worker; all we do is register
 * a data callback and translate the fix into the ground-station snapshot.
 *
 * Copyright (c) 2026 Auxspace e.V.
 * SPDX-License-Identifier: Apache-2.0
 */

#include "gnss_rx.h"
#include "ground_state.h"

#include <zephyr/device.h>
#include <zephyr/drivers/gnss.h>
#include <zephyr/kernel.h>
#include <zephyr/logging/log.h>

LOG_MODULE_REGISTER(gnss_rx, CONFIG_GROUND_SUPPORT_LOG_LEVEL);

#define GNSS_NODE DT_ALIAS(gnss)
BUILD_ASSERT(DT_NODE_HAS_STATUS(GNSS_NODE, okay),
	     "the 'gnss' alias must point at an enabled GNSS node");
#define GNSS_DEV DEVICE_DT_GET(GNSS_NODE)

/* Fixed-point wire units from struct navigation_data. */
#define NANODEG_PER_DEG 1e9
#define MM_PER_M        1000.0

/**
 * @brief GNSS data callback (runs on the driver's worker).
 *
 * Fires on every decoded fix message, with or without a position lock, so the
 * satellite count and fix status stay live while acquiring; @c valid gates the
 * position itself.
 */
static void gnss_cb(const struct device *dev, const struct gnss_data *data)
{
	ARG_UNUSED(dev);

	const struct navigation_data *nav = &data->nav_data;
	struct gs_gnss g = {
		.valid = data->info.fix_status != GNSS_FIX_STATUS_NO_FIX,
		.fix = (uint8_t)data->info.fix_status,
		.sats = data->info.satellites_cnt,
		.lat_deg = (double)nav->latitude / NANODEG_PER_DEG,
		.lon_deg = (double)nav->longitude / NANODEG_PER_DEG,
		.alt_m = (double)nav->altitude / MM_PER_M,
		.speed_ms = (double)nav->speed / MM_PER_M,
	};

	gs_set_gnss(&g);
}

GNSS_DATA_CALLBACK_DEFINE(GNSS_DEV, gnss_cb);

int gnss_rx_init(void)
{
	const struct device *dev = GNSS_DEV;

	if (!device_is_ready(dev)) {
		LOG_ERR("GNSS device %s not ready", dev->name);
		return -ENODEV;
	}

	LOG_INF("GNSS ready: %s", dev->name);
	return 0;
}
```

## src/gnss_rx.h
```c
/**
 * @file gnss_rx.h
 * @brief GNSS fix receiver for the ground station.
 *
 * Copyright (c) 2026 Auxspace e.V.
 * SPDX-License-Identifier: Apache-2.0
 */

#ifndef GROUND_SUPPORT_GNSS_RX_H_
#define GROUND_SUPPORT_GNSS_RX_H_

/**
 * @brief Check the GNSS device is ready.
 *
 * The fix callback itself is registered at link time; this only reports
 * readiness so a missing/unconfigured receiver is visible in the log.
 *
 * @retval 0 on success.
 * @retval -ENODEV if the GNSS device is not ready.
 */
int gnss_rx_init(void);

#endif /* GROUND_SUPPORT_GNSS_RX_H_ */
```

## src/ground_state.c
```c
/**
 * @file ground_state.c
 * @brief Mutex-protected ground-station snapshot (see ground_state.h).
 *
 * Copyright (c) 2026 Auxspace e.V.
 * SPDX-License-Identifier: Apache-2.0
 */

#include "ground_state.h"

#include <string.h>
#include <zephyr/kernel.h>

/* The critical sections are a handful of word copies, so a mutex is plenty:
 * no producer holds it long enough to matter to another, and the display is
 * the only reader.
 */
static K_MUTEX_DEFINE(gs_lock);
static struct gs_snapshot gs_state;

void gs_init(void)
{
	k_mutex_lock(&gs_lock, K_FOREVER);
	memset(&gs_state, 0, sizeof(gs_state));
	k_mutex_unlock(&gs_lock);
}

void gs_set_local(const struct gs_local *local)
{
	k_mutex_lock(&gs_lock, K_FOREVER);
	gs_state.local = *local;
	k_mutex_unlock(&gs_lock);
}

void gs_set_gnss(const struct gs_gnss *gnss)
{
	k_mutex_lock(&gs_lock, K_FOREVER);
	gs_state.gnss = *gnss;
	k_mutex_unlock(&gs_lock);
}

void gs_set_telemetry(const struct gs_telemetry *tlm)
{
	k_mutex_lock(&gs_lock, K_FOREVER);
	gs_state.tlm = *tlm;
	k_mutex_unlock(&gs_lock);
}

void gs_get(struct gs_snapshot *out)
{
	k_mutex_lock(&gs_lock, K_FOREVER);
	*out = gs_state;
	k_mutex_unlock(&gs_lock);
}
```

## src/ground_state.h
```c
/**
 * @file ground_state.h
 * @brief Shared ground-station snapshot.
 *
 * One mutex-protected record that decouples the producers (sensor sampler,
 * GNSS callback, HC-12 receiver) from the single consumer (the LVGL display
 * thread). Each producer owns one sub-struct and writes it whole; the display
 * copies the entire snapshot once per frame. No producer ever blocks on
 * another, and the display never sees a half-updated field.
 *
 * Copyright (c) 2026 Auxspace e.V.
 * SPDX-License-Identifier: Apache-2.0
 */

#ifndef GROUND_SUPPORT_GROUND_STATE_H_
#define GROUND_SUPPORT_GROUND_STATE_H_

#include <stdbool.h>
#include <stdint.h>

/** @brief Attitude/environment of the ground unit itself (onboard sensors). */
struct gs_local {
	bool imu_ok;       /**< IMU produced at least one sample. */
	bool baro_ok;      /**< Barometer produced at least one sample. */
	double roll_deg;   /**< Bank about the forward axis (deg). */
	double pitch_deg;  /**< Elevation of the forward axis from horizontal (deg). */
	double heading_deg;/**< Tilt-compensated magnetic heading, 0 = N, CW (deg). */
	double accel_g;    /**< Total specific force magnitude (g). */
	double altitude_m; /**< Barometric altitude above the boot reference (m). */
};

/** @brief GNSS fix of the ground unit (from the NEO-6M). */
struct gs_gnss {
	bool valid;        /**< A fix has been reported at least once. */
	uint8_t fix;       /**< enum gnss_fix_status. */
	uint16_t sats;     /**< Satellites tracked. */
	double lat_deg;    /**< Latitude (deg, +N). */
	double lon_deg;    /**< Longitude (deg, +E). */
	double alt_m;      /**< Altitude above MSL (m). */
	double speed_ms;   /**< Ground speed (m/s). */
};

/** @brief Latest rocket telemetry decoded from the HC-12 downlink. */
struct gs_telemetry {
	bool valid;             /**< At least one valid frame decoded. */
	int64_t rx_uptime_ms;   /**< Local uptime when the last frame arrived. */
	uint32_t timestamp_ms;  /**< Rocket-side timestamp from the frame. */
	uint8_t state;          /**< Flight state (enum sm_state of @ref type). */
	uint8_t type;           /**< State-machine type (enum sm_type). */
	uint8_t armed;          /**< Non-zero if the rocket reports armed. */
	double altitude_m;      /**< Rocket altitude (m). */
	double accel_ms2;       /**< Rocket total acceleration (m/s^2). */
	double accel_vert_ms2;  /**< Rocket vertical acceleration (m/s^2, up +). */
	double velocity_ms;     /**< Rocket vertical velocity (m/s). */
	double orientation[3];  /**< Rocket orientation (yaw, pitch, roll) (deg). */
};

/** @brief Full ground-station snapshot. */
struct gs_snapshot {
	struct gs_local local;
	struct gs_gnss gnss;
	struct gs_telemetry tlm;
	bool pad_link_valid;    /**< BLE pad-link connected (not yet implemented). */
};

/**
 * @brief Initialise the shared snapshot (zeroed) and its lock.
 *
 * Call once before any producer or the display thread runs.
 */
void gs_init(void);

/** @brief Publish the onboard-attitude sub-record. */
void gs_set_local(const struct gs_local *local);

/** @brief Publish the GNSS sub-record. */
void gs_set_gnss(const struct gs_gnss *gnss);

/** @brief Publish the rocket-telemetry sub-record. */
void gs_set_telemetry(const struct gs_telemetry *tlm);

/**
 * @brief Copy the whole snapshot out under the lock.
 *
 * @param out Destination, must be non-NULL.
 */
void gs_get(struct gs_snapshot *out);

#endif /* GROUND_SUPPORT_GROUND_STATE_H_ */
```

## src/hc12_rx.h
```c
/**
 * @file hc12_rx.h
 * @brief HC-12 telemetry receiver for the ground station.
 *
 * Copyright (c) 2026 Auxspace e.V.
 * SPDX-License-Identifier: Apache-2.0
 */

#ifndef GROUND_SUPPORT_HC12_RX_H_
#define GROUND_SUPPORT_HC12_RX_H_

/**
 * @brief Start receiving rocket telemetry on the HC-12 UART.
 *
 * Enables interrupt-driven RX on the UART behind the @c hc12 devicetree node;
 * a worker thread reassembles frames and publishes decoded telemetry into the
 * shared snapshot.
 *
 * @retval 0 on success.
 * @retval -ENODEV if the UART device is not ready.
 */
int hc12_rx_init(void);

#endif /* GROUND_SUPPORT_HC12_RX_H_ */
```
